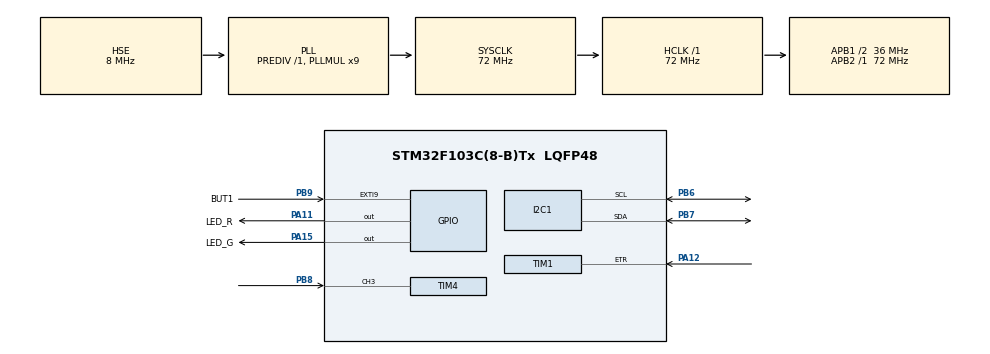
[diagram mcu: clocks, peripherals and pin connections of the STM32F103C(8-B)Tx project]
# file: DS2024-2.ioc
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I2C1.I2C_Mode=I2C_Fast
IWDG.Prescaler=IWDG_PRESCALER_16
Mcu.Family=STM32F1
Mcu.Name=STM32F103C(8-B)Tx
Mcu.Package=LQFP48
NVIC.EXTI9_5_IRQn=true\:13\:0\:true\:false\:true\:true\:true\:true
NVIC.PriorityGroup=NVIC_PRIORITYGROUP_4
NVIC.TIM2_IRQn=true\:14\:0\:true\:false\:true\:true\:true\:true
NVIC.TIM3_IRQn=true\:14\:0\:true\:false\:true\:true\:true\:true
NVIC.TIM4_IRQn=true\:14\:0\:true\:false\:true\:true\:true\:true
PA11.GPIO_Label=LED_R
PA11.GPIO_ModeDefaultOutputPP=GPIO_MODE_OUTPUT_OD
PA11.GPIO_PuPd=GPIO_NOPULL
PA11.PinState=GPIO_PIN_SET
PA11.Signal=GPIO_Output
PA12.Signal=S_TIM1_ETR
PA13.Mode=Serial_Wire
PA13.Signal=SYS_JTMS-SWDIO
PA14.Mode=Serial_Wire
PA14.Signal=SYS_JTCK-SWCLK
PA15.GPIO_Label=LED_G
PA15.GPIO_ModeDefaultOutputPP=GPIO_MODE_OUTPUT_OD
PA15.GPIO_PuPd=GPIO_NOPULL
PA15.PinState=GPIO_PIN_SET
PA15.Signal=GPIO_Output
PB6.Mode=I2C
PB6.Signal=I2C1_SCL
PB7.Mode=I2C
PB7.Signal=I2C1_SDA
PB8.Signal=S_TIM4_CH3
PB9.GPIO_Label=BUT1
PB9.GPIO_ModeDefaultEXTI=GPIO_MODE_IT_RISING
PB9.GPIO_PuPd=GPIO_PULLUP
PB9.Signal=GPXTI9
PC14-OSC32_IN.Mode=LSE-External-Oscillator
PC14-OSC32_IN.Signal=RCC_OSC32_IN
PC15-OSC32_OUT.Mode=LSE-External-Oscillator
PC15-OSC32_OUT.Signal=RCC_OSC32_OUT
PD0-OSC_IN.Mode=HSE-External-Oscillator
PD0-OSC_IN.Signal=RCC_OSC_IN
PD1-OSC_OUT.Mode=HSE-External-Oscillator
PD1-OSC_OUT.Signal=RCC_OSC_OUT
ProjectManager.HeapSize=0x200
ProjectManager.StackSize=0x400
ProjectManager.TargetToolchain=STM32CubeIDE
RCC.AHBFreq_Value=72000000
RCC.APB1CLKDivider=RCC_HCLK_DIV2
RCC.APB1Freq_Value=36000000
RCC.APB1TimFreq_Value=72000000
RCC.APB2Freq_Value=72000000
RCC.APB2TimFreq_Value=72000000
RCC.HCLKFreq_Value=72000000
RCC.PLLMUL=RCC_PLL_MUL9
RCC.PLLSourceVirtual=RCC_PLLSOURCE_HSE
RCC.SYSCLKFreq_VALUE=72000000
RCC.SYSCLKSource=RCC_SYSCLKSOURCE_PLLCLK
RCC.USBFreq_Value=72000000
SH.S_TIM1_ETR.0=TIM1_ETR,ClockSourceETR_Mode2
SH.S_TIM4_CH3.0=TIM4_CH3,Input_Capture3_from_TI3
TIM2.AutoReloadPreload=TIM_AUTORELOAD_PRELOAD_ENABLE
TIM2.Period=65535
TIM2.Prescaler=36000-1
TIM3.AutoReloadPreload=TIM_AUTORELOAD_PRELOAD_ENABLE
TIM3.Period=100-1
TIM3.Prescaler=72-1
TIM4.AutoReloadPreload=TIM_AUTORELOAD_PRELOAD_DISABLE
TIM4.Channel-Input_Capture3_from_TI3=TIM_CHANNEL_3
TIM4.ICPolarity_CH3=TIM_INPUTCHANNELPOLARITY_FALLING
TIM4.Period=65535
TIM4.Prescaler=72-1
VP_IWDG_VS_IWDG.Mode=IWDG_Activate
VP_TIM2_VS_ClockSourceINT.Mode=Internal
VP_TIM3_VS_ClockSourceINT.Mode=Internal
VP_TIM4_VS_ClockSourceINT.Mode=Internal
board=custom

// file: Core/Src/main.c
/* USER CODE BEGIN Header */
/**
  ******************************************************************************
  * @file           : main.c
  * @brief          : Main program body
  ******************************************************************************
  * @attention
  *
  * Copyright (c) 2024 STMicroelectronics.
  * All rights reserved.
  *
  * This software is licensed under terms that can be found in the LICENSE file
  * in the root directory of this software component.
  * If no LICENSE file comes with this software, it is provided AS-IS.
  *
  ******************************************************************************
  */
/* USER CODE END Header */
#include "main.h"
#include "i2c.h"
#include "iwdg.h"
#include "tim.h"
#include "gpio.h"

/* USER CODE BEGIN Includes */

#include "USERDATA.h"

/* USER CODE END Includes */

/* USER CODE BEGIN PV */

uint8_t state = 0;
uint8_t init_status = 0;

uint8_t Manual_Morse_State = 0;

/* USER CODE END PV */

void SystemClock_Config(void);

int main(void)
{

  /* MCU Configuration--------------------------------------------------------*/

  /* Reset of all peripherals, Initializes the Flash interface and the Systick. */
  HAL_Init();

  /* Configure the system clock */
  SystemClock_Config();

  /* Initialize all configured peripherals */
  MX_GPIO_Init();
  MX_I2C1_Init();
  MX_TIM4_Init();
  MX_TIM3_Init();
  MX_TIM1_Init();
  MX_IWDG_Init();
  MX_TIM2_Init();
  /* USER CODE BEGIN 2 */

	HAL_TIM_Base_Start(&htim1);

	HAL_TIM_Base_Start_IT(&htim3);

	MX_IWDG_Init();

	OLED_Init();
	OLED_Clear();

  /* USER CODE END 2 */

  /* Infinite loop */
  /* USER CODE BEGIN WHILE */
	while (1) {

		if (init_status == 1) {
			HAL_GPIO_WritePin(GPIOA, LED_G_Pin, GPIO_PIN_SET);
			HAL_GPIO_WritePin(GPIOA, LED_R_Pin, GPIO_PIN_SET);

			OLED_Clear();
			init_status = 0;
		}

		//state machine
		switch (state) {
			//receive all signal and light LED
			case 0: Show_OLED(state);
				if (HAL_GPIO_ReadPin(GPIOA, GPIO_PIN_12) == GPIO_PIN_RESET) {
					ALL_Response_SET();
				}
				else {
					ALL_Response_RESET();
				}
				break;

				//receive 10k signal and twinkle LED
			case 1: Show_OLED(state);
				if (HAL_GPIO_ReadPin(GPIOA, GPIO_PIN_12) == GPIO_PIN_RESET) {
					F10k_Response_SET();
				}
				else {
					F10k_Response_RESET();
				}
				break;

				//manual morse code
			case 2: Show_OLED(state);
				Manual_Morse();
				break;

				//auto send mode
			case 3: Show_OLED(state);
				Auto_Morse();
				break;

				//data send mode
			case 4: Show_OLED(state);

				break;

				//image test
			case 5: OLED_Fill(Image);
				break;

		}
		HAL_IWDG_Refresh(&hiwdg);
    /* USER CODE END WHILE */

	}
}

void SystemClock_Config(void)
{
  RCC_OscInitTypeDef RCC_OscInitStruct = {0};
  RCC_ClkInitTypeDef RCC_ClkInitStruct = {0};

  /** Initializes the RCC Oscillators according to the specified parameters
  * in the RCC_OscInitTypeDef structure.
  */
  RCC_OscInitStruct.OscillatorType = RCC_OSCILLATORTYPE_LSI|RCC_OSCILLATORTYPE_HSE;
  RCC_OscInitStruct.HSEState = RCC_HSE_ON;
  RCC_OscInitStruct.HSEPredivValue = RCC_HSE_PREDIV_DIV1;
  RCC_OscInitStruct.HSIState = RCC_HSI_ON;
  RCC_OscInitStruct.LSIState = RCC_LSI_ON;
  RCC_OscInitStruct.PLL.PLLState = RCC_PLL_ON;
  RCC_OscInitStruct.PLL.PLLSource = RCC_PLLSOURCE_HSE;
  RCC_OscInitStruct.PLL.PLLMUL = RCC_PLL_MUL9;
  if (HAL_RCC_OscConfig(&RCC_OscInitStruct) != HAL_OK)
  {
    Error_Handler();
  }

  /** Initializes the CPU, AHB and APB buses clocks
  */
  RCC_ClkInitStruct.ClockType = RCC_CLOCKTYPE_HCLK|RCC_CLOCKTYPE_SYSCLK
                              |RCC_CLOCKTYPE_PCLK1|RCC_CLOCKTYPE_PCLK2;
  RCC_ClkInitStruct.SYSCLKSource = RCC_SYSCLKSOURCE_PLLCLK;
  RCC_ClkInitStruct.AHBCLKDivider = RCC_SYSCLK_DIV1;
  RCC_ClkInitStruct.APB1CLKDivider = RCC_HCLK_DIV2;
  RCC_ClkInitStruct.APB2CLKDivider = RCC_HCLK_DIV1;

  if (HAL_RCC_ClockConfig(&RCC_ClkInitStruct, FLASH_LATENCY_2) != HAL_OK)
  {
    Error_Handler();
  }
}

/* USER CODE BEGIN 4 */

void HAL_GPIO_EXTI_Callback(uint16_t GPIO_Pin) {
	if (GPIO_Pin == BUT1_Pin) {
		state++;
		if (state >= 4) {
			state = 0;
		}
	}
	init_status = 1;
}

/* USER CODE END 4 */

void Error_Handler(void)
{
	__disable_irq();
	while (1) {
	}
}
